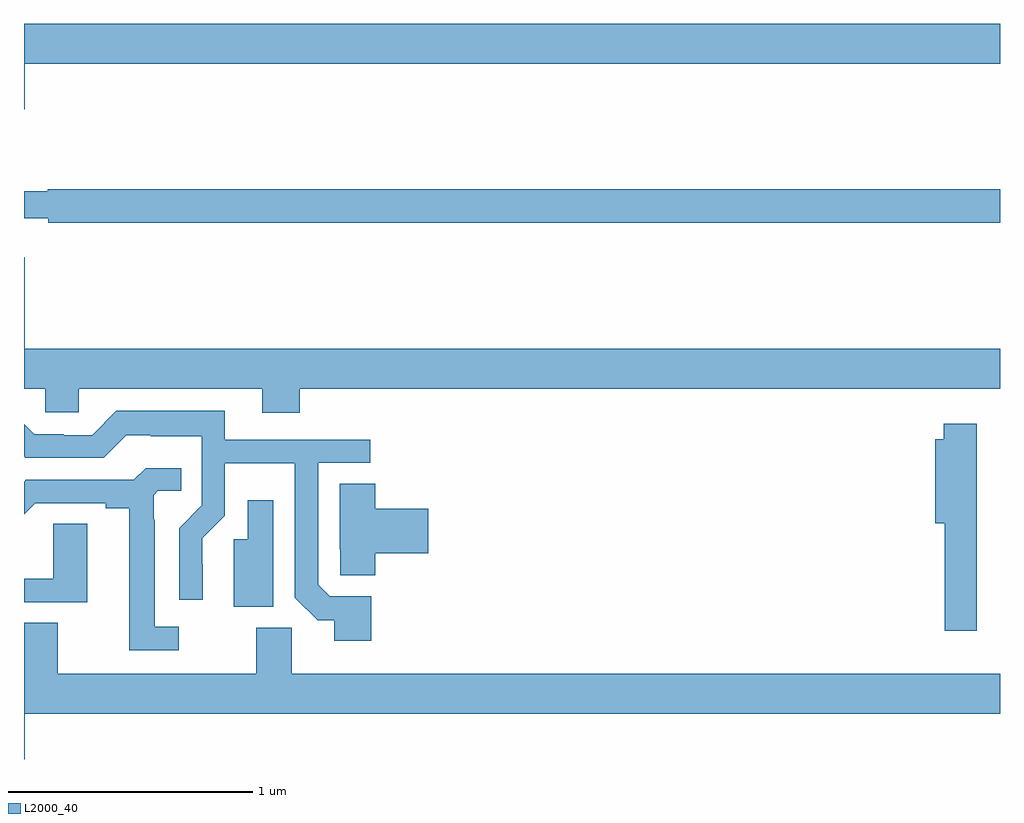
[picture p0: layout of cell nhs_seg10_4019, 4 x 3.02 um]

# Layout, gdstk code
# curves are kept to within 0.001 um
import gdstk
lib = gdstk.Library(unit=1e-6, precision=1e-09)
def P(c, l, *ps):  # polygons
    for p in ps: c.add(gdstk.Polygon(p, *l))
L2000_40 = (2000, 40)

nhs_seg10_4019 = lib.new_cell('nhs_seg10_4019')
P(nhs_seg10_4019, L2000_40, [(333.004,1277.672),(337,1277.672),(337,1277.836),(333,1277.836),(333,1277.484),(333.004,1277.484)],
  [(337,1277.156),(333.098,1277.156),(333.098,1277.149),(333,1277.149),(333,1277.039),(333.1,1277.039),(333.1,1277.02),(337,1277.02)],
  [(334.13,1276.34),(337,1276.34),(337,1276.504),(333.004,1276.504),(333.004,1276.879),(333,1276.879),(333,1276.34),(333.087,1276.34),(333.087,1276.242),(333.225,1276.242),(333.225,1276.34),(333.977,1276.34),(333.977,1276.241),(334.13,1276.241)],
  [(334.424,1275.489),(334.254,1275.489),(334.206,1275.537),(334.206,1276.035),(334.42,1276.035),(334.42,1276.131),(333.823,1276.131),(333.823,1276.249),(333.379,1276.249),(333.279,1276.149),(333.162,1276.149),(333.162,1276.152),(333.042,1276.152),(333,1276.194),(333,1276.062),(333.006,1276.056),(333.327,1276.056),(333.42,1276.149),(333.52,1276.149),(333.52,1276.145),(333.729,1276.145),(333.729,1275.861),(333.636,1275.768),(333.636,1275.474),(333.732,1275.474),(333.731,1275.726),(333.822,1275.818),(333.822,1276.034),(334.11,1276.034),(334.11,1275.483),(334.203,1275.391),(334.271,1275.391),(334.271,1275.306),(334.424,1275.306)],
  [(336.904,1276.195),(336.77,1276.195),(336.77,1276.132),(336.734,1276.132),(336.734,1275.788),(336.773,1275.788),(336.773,1275.348),(336.904,1275.348)],
  [(333.634,1275.363),(333.535,1275.363),(333.535,1275.803),(333.531,1275.803),(333.531,1275.903),(333.549,1275.921),(333.644,1275.921),(333.644,1276.013),(333.498,1276.013),(333.45,1275.966),(333.008,1275.966),(333,1275.958),(333,1275.824),(333.046,1275.87),(333.335,1275.87),(333.335,1275.85),(333.431,1275.85),(333.431,1275.267),(333.634,1275.267)],
  [(334.439,1275.665),(334.657,1275.665),(334.657,1275.848),(334.439,1275.848),(334.439,1275.95),(334.295,1275.95),(334.295,1275.682),(334.296,1275.682),(334.296,1275.574),(334.439,1275.574)],
  [(334.021,1275.883),(333.917,1275.883),(333.917,1275.723),(333.86,1275.723),(333.86,1275.445),(334.021,1275.445)],
  [(333.259,1275.785),(333.12,1275.785),(333.12,1275.561),(333,1275.561),(333,1275.465),(333.259,1275.465)],
  [(333.004,1275.008),(337,1275.008),(337,1275.172),(334.098,1275.172),(334.098,1275.36),(333.952,1275.36),(333.952,1275.172),(333.139,1275.172),(333.139,1275.38),(333,1275.38),(333,1274.82),(333.004,1274.82)])

lib.write_gds('nhs_seg10_4019.gds')
